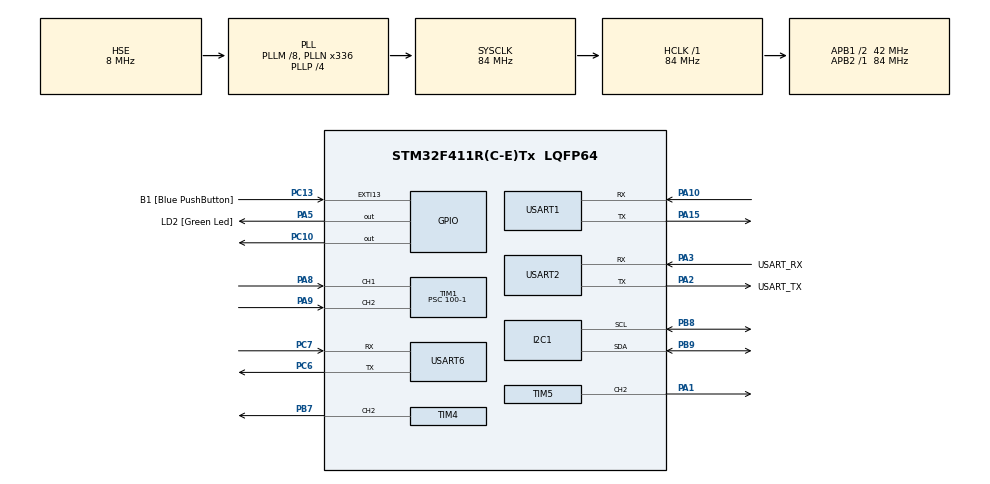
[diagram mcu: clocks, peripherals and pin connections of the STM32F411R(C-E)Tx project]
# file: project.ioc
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Dma.Request0=USART2_TX
Dma.USART2_TX.0.Direction=DMA_MEMORY_TO_PERIPH
Dma.USART2_TX.0.FIFOMode=DMA_FIFOMODE_DISABLE
Dma.USART2_TX.0.Instance=DMA1_Stream6
Dma.USART2_TX.0.MemDataAlignment=DMA_MDATAALIGN_BYTE
Dma.USART2_TX.0.MemInc=DMA_MINC_ENABLE
Dma.USART2_TX.0.Mode=DMA_NORMAL
Dma.USART2_TX.0.PeriphDataAlignment=DMA_PDATAALIGN_BYTE
Dma.USART2_TX.0.PeriphInc=DMA_PINC_DISABLE
Dma.USART2_TX.0.Priority=DMA_PRIORITY_LOW
Mcu.Family=STM32F4
Mcu.Name=STM32F411R(C-E)Tx
Mcu.Package=LQFP64
NVIC.DMA1_Stream6_IRQn=true\:0\:0\:false\:false\:true\:false\:true\:true
NVIC.PriorityGroup=NVIC_PRIORITYGROUP_0
NVIC.TIM1_CC_IRQn=true\:0\:0\:false\:false\:true\:true\:true\:true
NVIC.USART2_IRQn=true\:0\:0\:false\:false\:true\:true\:true\:true
PA1.Signal=S_TIM5_CH2
PA10.Mode=Asynchronous
PA10.Signal=USART1_RX
PA13.GPIO_Label=TMS
PA13.Mode=Serial_Wire
PA13.Signal=SYS_JTMS-SWDIO
PA14.GPIO_Label=TCK
PA14.Mode=Serial_Wire
PA14.Signal=SYS_JTCK-SWCLK
PA15.Mode=Asynchronous
PA15.Signal=USART1_TX
PA2.GPIO_Label=USART_TX
PA2.Mode=Asynchronous
PA2.Signal=USART2_TX
PA3.GPIO_Label=USART_RX
PA3.Mode=Asynchronous
PA3.Signal=USART2_RX
PA5.GPIO_Label=LD2 [Green Led]
PA5.Signal=GPIO_Output
PA8.Signal=S_TIM1_CH1
PA9.Signal=S_TIM1_CH2
PB3.GPIO_Label=SWO
PB3.Signal=SYS_JTDO-SWO
PB7.Signal=S_TIM4_CH2
PB8.Mode=I2C
PB8.Signal=I2C1_SCL
PB9.Mode=I2C
PB9.Signal=I2C1_SDA
PC10.GPIO_Speed=GPIO_SPEED_FREQ_HIGH
PC10.PinState=GPIO_PIN_SET
PC10.Signal=GPIO_Output
PC13-ANTI_TAMP.GPIO_Label=B1 [Blue PushButton]
PC13-ANTI_TAMP.GPIO_ModeDefaultEXTI=GPIO_MODE_IT_FALLING
PC13-ANTI_TAMP.Signal=GPXTI13
PC14-OSC32_IN.Mode=LSE-External-Oscillator
PC14-OSC32_IN.Signal=RCC_OSC32_IN
PC15-OSC32_OUT.Mode=LSE-External-Oscillator
PC15-OSC32_OUT.Signal=RCC_OSC32_OUT
PC6.Mode=Asynchronous
PC6.Signal=USART6_TX
PC7.Mode=Asynchronous
PC7.Signal=USART6_RX
PH0\ -\ OSC_IN.Mode=HSE-External-Oscillator
PH0\ -\ OSC_IN.Signal=RCC_OSC_IN
PH1\ -\ OSC_OUT.Mode=HSE-External-Oscillator
PH1\ -\ OSC_OUT.Signal=RCC_OSC_OUT
ProjectManager.HeapSize=0x200
ProjectManager.StackSize=0x400
ProjectManager.TargetToolchain=CMake
RCC.48MHZClocksFreq_Value=84000000
RCC.AHBFreq_Value=84000000
RCC.APB1CLKDivider=RCC_HCLK_DIV2
RCC.APB1Freq_Value=42000000
RCC.APB1TimFreq_Value=84000000
RCC.APB2Freq_Value=84000000
RCC.APB2TimFreq_Value=84000000
RCC.CortexFreq_Value=84000000
RCC.FLatency-AdvancedSettings=FLASH_LATENCY_2
RCC.HCLKFreq_Value=84000000
RCC.HSE_VALUE=8000000
RCC.HSI_VALUE=16000000
RCC.PLLM=8
RCC.PLLN=336
RCC.PLLP=RCC_PLLP_DIV4
RCC.PLLSourceVirtual=RCC_PLLSOURCE_HSE
RCC.SYSCLKFreq_VALUE=84000000
RCC.SYSCLKSource=RCC_SYSCLKSOURCE_PLLCLK
RCC.VCOOutputFreq_Value=336000000
SH.S_TIM1_CH1.0=TIM1_CH1,Input_Capture1_from_TI1
SH.S_TIM1_CH2.0=TIM1_CH2,Input_Capture2_from_TI2
SH.S_TIM4_CH2.0=TIM4_CH2,PWM Generation2 CH2
SH.S_TIM5_CH2.0=TIM5_CH2,PWM Generation2 CH2
TIM1.Channel-Input_Capture1_from_TI1=TIM_CHANNEL_1
TIM1.Channel-Input_Capture2_from_TI2=TIM_CHANNEL_2
TIM1.ICFilter_CH1=4
TIM1.ICPolarity_CH2=TIM_INPUTCHANNELPOLARITY_FALLING
TIM1.Prescaler=100-1
TIM4.Channel-PWM\ Generation2\ CH2=TIM_CHANNEL_2
TIM4.Period=20000-1
TIM4.Prescaler=84-1
TIM5.Channel-PWM\ Generation2\ CH2=TIM_CHANNEL_2
USART1.VirtualMode=VM_ASYNC
USART2.VirtualMode=VM_ASYNC
USART6.VirtualMode=VM_ASYNC
VP_TIM1_VS_ClockSourceINT.Mode=Internal
VP_TIM4_VS_ClockSourceINT.Mode=Internal
VP_TIM5_VS_ClockSourceINT.Mode=Internal
board=NUCLEO-F411RE

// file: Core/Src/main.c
/* USER CODE BEGIN Header */
/**
 ******************************************************************************
 * @file           : main.c
 * @brief          : Main program body
 ******************************************************************************
 * @attention
 *
 * Copyright (c) 2024 STMicroelectronics.
 * All rights reserved.
 *
 * This software is licensed under terms that can be found in the LICENSE file
 * in the root directory of this software component.
 * If no LICENSE file comes with this software, it is provided AS-IS.
 *
 ******************************************************************************
 */
/* USER CODE END Header */
#include "main.h"

/* USER CODE BEGIN Includes */
#include <stdio.h>
#include <string.h>
/* USER CODE END Includes */

/* USER CODE BEGIN PM */
#ifdef __GNUC__
/* With GCC, small printf (option LD Linker->Libraries->Small printf
   set to 'Yes') calls __io_putchar() */
#define PUTCHAR_PROTOTYPE int __io_putchar(int ch)
#else
#define PUTCHAR_PROTOTYPE int fputc(int ch, FILE *f)
#endif /* __GNUC__ */

/* USER CODE END PM */

I2C_HandleTypeDef hi2c1;

TIM_HandleTypeDef htim1;
TIM_HandleTypeDef htim4;
TIM_HandleTypeDef htim5;

UART_HandleTypeDef huart1;
UART_HandleTypeDef huart2;
UART_HandleTypeDef huart6;
DMA_HandleTypeDef hdma_usart2_tx;

/* USER CODE BEGIN PV */
uint16_t risingCnt, fallingCnt, cntBuffer, distance;
uint8_t pwmDutyCycle = 0;
/* USER CODE END PV */

void SystemClock_Config(void);
static void MX_GPIO_Init(void);
static void MX_DMA_Init(void);
static void MX_USART2_UART_Init(void);
static void MX_TIM1_Init(void);
static void MX_TIM4_Init(void);
static void MX_I2C1_Init(void);
static void MX_TIM5_Init(void);
static void MX_USART1_UART_Init(void);
static void MX_USART6_UART_Init(void);
/* USER CODE BEGIN PFP */
void delay_us(uint16_t us) {
  __HAL_TIM_SET_COUNTER(&htim1, 0); // TIM1 CNT=0
  while (__HAL_TIM_GET_COUNTER(&htim1) < us)
    ; // TIM1 CNT us compare
}

void HAL_TIM_IC_CaptureCallback(
    TIM_HandleTypeDef *htim) // Input Capture Interrupt occur -> ISR Start
{
  if (htim->Instance == TIM1) {
    if (htim->Channel == HAL_TIM_ACTIVE_CHANNEL_1) {
      risingCnt = HAL_TIM_ReadCapturedValue(htim, TIM_CHANNEL_1);
    }
    if (htim->Channel == HAL_TIM_ACTIVE_CHANNEL_2) {
      fallingCnt = HAL_TIM_ReadCapturedValue(htim, TIM_CHANNEL_2);
    }
  }
}
/* USER CODE END PFP */

int main(void)
{

  /* MCU Configuration--------------------------------------------------------*/

  /* Reset of all peripherals, Initializes the Flash interface and the Systick. */
  HAL_Init();

  /* Configure the system clock */
  SystemClock_Config();

  /* Initialize all configured peripherals */
  MX_GPIO_Init();
  MX_DMA_Init();
  MX_USART2_UART_Init();
  MX_TIM1_Init();
  MX_TIM4_Init();
  MX_I2C1_Init();
  MX_TIM5_Init();
  MX_USART1_UART_Init();
  MX_USART6_UART_Init();
  /* USER CODE BEGIN 2 */
  HAL_TIM_Base_Start(&htim1); // delay_us
  HAL_TIM_IC_Start_IT(&htim1, TIM_CHANNEL_1);
  HAL_TIM_IC_Start_IT(&htim1, TIM_CHANNEL_2);
  HAL_TIM_PWM_Start(&htim4, TIM_CHANNEL_2);
  /* USER CODE END 2 */

  /* Infinite loop */
  while (1) {

    /* USER CODE BEGIN 3 */
    HAL_GPIO_WritePin(GPIOC, GPIO_PIN_10, RESET);
    delay_us(1);
    HAL_GPIO_WritePin(GPIOC, GPIO_PIN_10, SET);
    delay_us(10);
    HAL_GPIO_WritePin(GPIOC, GPIO_PIN_10, RESET);
    cntBuffer = fallingCnt - risingCnt;
    // Tx_data[0] = cntBuffer/58;
    distance = cntBuffer / 58;
    htim1.Instance->CCR1 = 0;

    printf("%3dcm\n", distance);

    if (distance <= 20) { // If distance is less than or equal to 20 cm
      controlServo(90);   // 서브모터를 90도로 설정
      HAL_Delay(3000);    // 3초 대기
    } else if (distance > 20) {
      controlServo(0); // 서브모터를 0도로 설정
    }
    //	HAL_UART_Transmit_DMA(&huart2, Tx_data, sizeof(Tx_data));
    HAL_Delay(60);
  }
  /* USER CODE END 3 */
}

void SystemClock_Config(void)
{
  RCC_OscInitTypeDef RCC_OscInitStruct = {0};
  RCC_ClkInitTypeDef RCC_ClkInitStruct = {0};

  /** Configure the main internal regulator output voltage
  */
  __HAL_RCC_PWR_CLK_ENABLE();
  __HAL_PWR_VOLTAGESCALING_CONFIG(PWR_REGULATOR_VOLTAGE_SCALE1);

  /** Initializes the RCC Oscillators according to the specified parameters
  * in the RCC_OscInitTypeDef structure.
  */
  RCC_OscInitStruct.OscillatorType = RCC_OSCILLATORTYPE_HSE;
  RCC_OscInitStruct.HSEState = RCC_HSE_ON;
  RCC_OscInitStruct.PLL.PLLState = RCC_PLL_ON;
  RCC_OscInitStruct.PLL.PLLSource = RCC_PLLSOURCE_HSE;
  RCC_OscInitStruct.PLL.PLLM = 8;
  RCC_OscInitStruct.PLL.PLLN = 336;
  RCC_OscInitStruct.PLL.PLLP = RCC_PLLP_DIV4;
  RCC_OscInitStruct.PLL.PLLQ = 4;
  if (HAL_RCC_OscConfig(&RCC_OscInitStruct) != HAL_OK)
  {
    Error_Handler();
  }

  /** Initializes the CPU, AHB and APB buses clocks
  */
  RCC_ClkInitStruct.ClockType = RCC_CLOCKTYPE_HCLK|RCC_CLOCKTYPE_SYSCLK
                              |RCC_CLOCKTYPE_PCLK1|RCC_CLOCKTYPE_PCLK2;
  RCC_ClkInitStruct.SYSCLKSource = RCC_SYSCLKSOURCE_PLLCLK;
  RCC_ClkInitStruct.AHBCLKDivider = RCC_SYSCLK_DIV1;
  RCC_ClkInitStruct.APB1CLKDivider = RCC_HCLK_DIV2;
  RCC_ClkInitStruct.APB2CLKDivider = RCC_HCLK_DIV1;

  if (HAL_RCC_ClockConfig(&RCC_ClkInitStruct, FLASH_LATENCY_2) != HAL_OK)
  {
    Error_Handler();
  }
}

static void MX_I2C1_Init(void)
{

  hi2c1.Instance = I2C1;
  hi2c1.Init.ClockSpeed = 100000;
  hi2c1.Init.DutyCycle = I2C_DUTYCYCLE_2;
  hi2c1.Init.OwnAddress1 = 0;
  hi2c1.Init.AddressingMode = I2C_ADDRESSINGMODE_7BIT;
  hi2c1.Init.DualAddressMode = I2C_DUALADDRESS_DISABLE;
  hi2c1.Init.OwnAddress2 = 0;
  hi2c1.Init.GeneralCallMode = I2C_GENERALCALL_DISABLE;
  hi2c1.Init.NoStretchMode = I2C_NOSTRETCH_DISABLE;
  if (HAL_I2C_Init(&hi2c1) != HAL_OK)
  {
    Error_Handler();
  }

}

static void MX_TIM1_Init(void)
{

  TIM_ClockConfigTypeDef sClockSourceConfig = {0};
  TIM_MasterConfigTypeDef sMasterConfig = {0};
  TIM_IC_InitTypeDef sConfigIC = {0};

  htim1.Instance = TIM1;
  htim1.Init.Prescaler = 100-1;
  htim1.Init.CounterMode = TIM_COUNTERMODE_UP;
  htim1.Init.Period = 65535;
  htim1.Init.ClockDivision = TIM_CLOCKDIVISION_DIV1;
  htim1.Init.RepetitionCounter = 0;
  htim1.Init.AutoReloadPreload = TIM_AUTORELOAD_PRELOAD_DISABLE;
  if (HAL_TIM_Base_Init(&htim1) != HAL_OK)
  {
    Error_Handler();
  }
  sClockSourceConfig.ClockSource = TIM_CLOCKSOURCE_INTERNAL;
  if (HAL_TIM_ConfigClockSource(&htim1, &sClockSourceConfig) != HAL_OK)
  {
    Error_Handler();
  }
  if (HAL_TIM_IC_Init(&htim1) != HAL_OK)
  {
    Error_Handler();
  }
  sMasterConfig.MasterOutputTrigger = TIM_TRGO_RESET;
  sMasterConfig.MasterSlaveMode = TIM_MASTERSLAVEMODE_DISABLE;
  if (HAL_TIMEx_MasterConfigSynchronization(&htim1, &sMasterConfig) != HAL_OK)
  {
    Error_Handler();
  }
  sConfigIC.ICPolarity = TIM_INPUTCHANNELPOLARITY_RISING;
  sConfigIC.ICSelection = TIM_ICSELECTION_DIRECTTI;
  sConfigIC.ICPrescaler = TIM_ICPSC_DIV1;
  sConfigIC.ICFilter = 4;
  if (HAL_TIM_IC_ConfigChannel(&htim1, &sConfigIC, TIM_CHANNEL_1) != HAL_OK)
  {
    Error_Handler();
  }
  sConfigIC.ICPolarity = TIM_INPUTCHANNELPOLARITY_FALLING;
  sConfigIC.ICFilter = 0;
  if (HAL_TIM_IC_ConfigChannel(&htim1, &sConfigIC, TIM_CHANNEL_2) != HAL_OK)
  {
    Error_Handler();
  }

}

static void MX_TIM4_Init(void)
{

  TIM_ClockConfigTypeDef sClockSourceConfig = {0};
  TIM_MasterConfigTypeDef sMasterConfig = {0};
  TIM_OC_InitTypeDef sConfigOC = {0};

  htim4.Instance = TIM4;
  htim4.Init.Prescaler = 84-1;
  htim4.Init.CounterMode = TIM_COUNTERMODE_UP;
  htim4.Init.Period = 20000-1;
  htim4.Init.ClockDivision = TIM_CLOCKDIVISION_DIV1;
  htim4.Init.AutoReloadPreload = TIM_AUTORELOAD_PRELOAD_DISABLE;
  if (HAL_TIM_Base_Init(&htim4) != HAL_OK)
  {
    Error_Handler();
  }
  sClockSourceConfig.ClockSource = TIM_CLOCKSOURCE_INTERNAL;
  if (HAL_TIM_ConfigClockSource(&htim4, &sClockSourceConfig) != HAL_OK)
  {
    Error_Handler();
  }
  if (HAL_TIM_PWM_Init(&htim4) != HAL_OK)
  {
    Error_Handler();
  }
  sMasterConfig.MasterOutputTrigger = TIM_TRGO_RESET;
  sMasterConfig.MasterSlaveMode = TIM_MASTERSLAVEMODE_DISABLE;
  if (HAL_TIMEx_MasterConfigSynchronization(&htim4, &sMasterConfig) != HAL_OK)
  {
    Error_Handler();
  }
  sConfigOC.OCMode = TIM_OCMODE_PWM1;
  sConfigOC.Pulse = 0;
  sConfigOC.OCPolarity = TIM_OCPOLARITY_HIGH;
  sConfigOC.OCFastMode = TIM_OCFAST_DISABLE;
  if (HAL_TIM_PWM_ConfigChannel(&htim4, &sConfigOC, TIM_CHANNEL_2) != HAL_OK)
  {
    Error_Handler();
  }
  HAL_TIM_MspPostInit(&htim4);

}

static void MX_TIM5_Init(void)
{

  TIM_ClockConfigTypeDef sClockSourceConfig = {0};
  TIM_MasterConfigTypeDef sMasterConfig = {0};
  TIM_OC_InitTypeDef sConfigOC = {0};

  htim5.Instance = TIM5;
  htim5.Init.Prescaler = 0;
  htim5.Init.CounterMode = TIM_COUNTERMODE_UP;
  htim5.Init.Period = 4294967295;
  htim5.Init.ClockDivision = TIM_CLOCKDIVISION_DIV1;
  htim5.Init.AutoReloadPreload = TIM_AUTORELOAD_PRELOAD_DISABLE;
  if (HAL_TIM_Base_Init(&htim5) != HAL_OK)
  {
    Error_Handler();
  }
  sClockSourceConfig.ClockSource = TIM_CLOCKSOURCE_INTERNAL;
  if (HAL_TIM_ConfigClockSource(&htim5, &sClockSourceConfig) != HAL_OK)
  {
    Error_Handler();
  }
  if (HAL_TIM_PWM_Init(&htim5) != HAL_OK)
  {
    Error_Handler();
  }
  sMasterConfig.MasterOutputTrigger = TIM_TRGO_RESET;
  sMasterConfig.MasterSlaveMode = TIM_MASTERSLAVEMODE_DISABLE;
  if (HAL_TIMEx_MasterConfigSynchronization(&htim5, &sMasterConfig) != HAL_OK)
  {
    Error_Handler();
  }
  sConfigOC.OCMode = TIM_OCMODE_PWM1;
  sConfigOC.Pulse = 0;
  sConfigOC.OCPolarity = TIM_OCPOLARITY_HIGH;
  sConfigOC.OCFastMode = TIM_OCFAST_DISABLE;
  if (HAL_TIM_PWM_ConfigChannel(&htim5, &sConfigOC, TIM_CHANNEL_2) != HAL_OK)
  {
    Error_Handler();
  }
  HAL_TIM_MspPostInit(&htim5);

}

static void MX_USART1_UART_Init(void)
{

  huart1.Instance = USART1;
  huart1.Init.BaudRate = 115200;
  huart1.Init.WordLength = UART_WORDLENGTH_8B;
  huart1.Init.StopBits = UART_STOPBITS_1;
  huart1.Init.Parity = UART_PARITY_NONE;
  huart1.Init.Mode = UART_MODE_TX_RX;
  huart1.Init.HwFlowCtl = UART_HWCONTROL_NONE;
  huart1.Init.OverSampling = UART_OVERSAMPLING_16;
  if (HAL_UART_Init(&huart1) != HAL_OK)
  {
    Error_Handler();
  }

}

static void MX_USART2_UART_Init(void)
{

  huart2.Instance = USART2;
  huart2.Init.BaudRate = 115200;
  huart2.Init.WordLength = UART_WORDLENGTH_8B;
  huart2.Init.StopBits = UART_STOPBITS_1;
  huart2.Init.Parity = UART_PARITY_NONE;
  huart2.Init.Mode = UART_MODE_TX_RX;
  huart2.Init.HwFlowCtl = UART_HWCONTROL_NONE;
  huart2.Init.OverSampling = UART_OVERSAMPLING_16;
  if (HAL_UART_Init(&huart2) != HAL_OK)
  {
    Error_Handler();
  }

}

static void MX_USART6_UART_Init(void)
{

  huart6.Instance = USART6;
  huart6.Init.BaudRate = 115200;
  huart6.Init.WordLength = UART_WORDLENGTH_8B;
  huart6.Init.StopBits = UART_STOPBITS_1;
  huart6.Init.Parity = UART_PARITY_NONE;
  huart6.Init.Mode = UART_MODE_TX_RX;
  huart6.Init.HwFlowCtl = UART_HWCONTROL_NONE;
  huart6.Init.OverSampling = UART_OVERSAMPLING_16;
  if (HAL_UART_Init(&huart6) != HAL_OK)
  {
    Error_Handler();
  }

}

static void MX_DMA_Init(void)
{

  /* DMA controller clock enable */
  __HAL_RCC_DMA1_CLK_ENABLE();

  /* DMA interrupt init */
  /* DMA1_Stream6_IRQn interrupt configuration */
  HAL_NVIC_SetPriority(DMA1_Stream6_IRQn, 0, 0);
  HAL_NVIC_EnableIRQ(DMA1_Stream6_IRQn);

}

static void MX_GPIO_Init(void)
{
  GPIO_InitTypeDef GPIO_InitStruct = {0};

  /* GPIO Ports Clock Enable */
  __HAL_RCC_GPIOC_CLK_ENABLE();
  __HAL_RCC_GPIOH_CLK_ENABLE();
  __HAL_RCC_GPIOA_CLK_ENABLE();
  __HAL_RCC_GPIOB_CLK_ENABLE();

  /*Configure GPIO pin Output Level */
  HAL_GPIO_WritePin(LD2_GPIO_Port, LD2_Pin, GPIO_PIN_RESET);

  /*Configure GPIO pin Output Level */
  HAL_GPIO_WritePin(GPIOC, GPIO_PIN_10, GPIO_PIN_SET);

  /*Configure GPIO pin : B1_Pin */
  GPIO_InitStruct.Pin = B1_Pin;
  GPIO_InitStruct.Mode = GPIO_MODE_IT_FALLING;
  GPIO_InitStruct.Pull = GPIO_NOPULL;
  HAL_GPIO_Init(B1_GPIO_Port, &GPIO_InitStruct);

  /*Configure GPIO pin : LD2_Pin */
  GPIO_InitStruct.Pin = LD2_Pin;
  GPIO_InitStruct.Mode = GPIO_MODE_OUTPUT_PP;
  GPIO_InitStruct.Pull = GPIO_NOPULL;
  GPIO_InitStruct.Speed = GPIO_SPEED_FREQ_LOW;
  HAL_GPIO_Init(LD2_GPIO_Port, &GPIO_InitStruct);

  /*Configure GPIO pin : PC10 */
  GPIO_InitStruct.Pin = GPIO_PIN_10;
  GPIO_InitStruct.Mode = GPIO_MODE_OUTPUT_PP;
  GPIO_InitStruct.Pull = GPIO_NOPULL;
  GPIO_InitStruct.Speed = GPIO_SPEED_FREQ_HIGH;
  HAL_GPIO_Init(GPIOC, &GPIO_InitStruct);

}

/* USER CODE BEGIN 4 */
void controlServo(uint8_t angle) {
  uint16_t pulseWidth;

  // Calculate pulse width for servo control (1ms to 2ms pulse range)
  if (angle == 0) {
    pulseWidth = 500; // 0 degree
  } else if (angle == 90) {
    pulseWidth = 1500; // 90 degree
  } else if (angle == 180) {
    pulseWidth = 2500; // 180 degree
  } else {
    pulseWidth = 1500; // Default to 0 degree
  }

  __HAL_TIM_SET_COMPARE(&htim4, TIM_CHANNEL_2,
                        pulseWidth); // Update PWM duty cycle for servo motor
}
PUTCHAR_PROTOTYPE {
  /* Place your implementation of fputc here */
  /* e.g. write a character to the EVAL_COM1 and Loop until the end of
   * transmission */
  HAL_UART_Transmit(&huart2, (uint8_t *)&ch, 1, 0xFFFF);

  return ch;
}
/* USER CODE END 4 */

void Error_Handler(void)
{
  __disable_irq();
  while (1) {
  }
}

#ifdef  USE_FULL_ASSERT
/**
  * @brief  Reports the name of the source file and the source line number
  *         where the assert_param error has occurred.
  * @param  file: pointer to the source file name
  * @param  line: assert_param error line source number
  * @retval None
  */
void assert_failed(uint8_t *file, uint32_t line)
{
  /* USER CODE BEGIN 6 */
  /* User can add his own implementation to report the file name and line
     number, ex: printf("Wrong parameters value: file %s on line %d\r\n", file,
     line) */
  /* USER CODE END 6 */
}
#endif /* USE_FULL_ASSERT */
